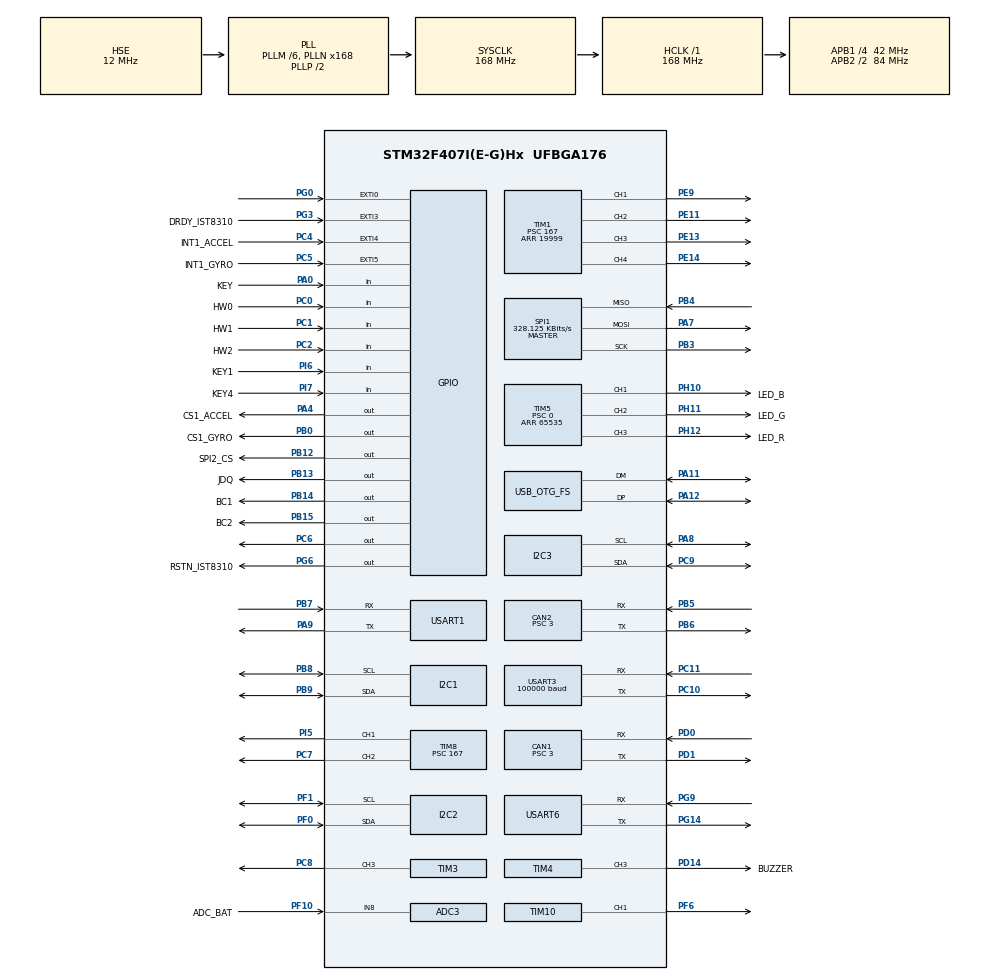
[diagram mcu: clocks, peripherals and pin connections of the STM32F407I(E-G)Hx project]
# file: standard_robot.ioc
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ADC1.Channel-0\#ChannelRegularConversion=ADC_CHANNEL_TEMPSENSOR
ADC1.ClockPrescaler=ADC_CLOCK_SYNC_PCLK_DIV6
ADC1.NbrOfConversionFlag=1
ADC1.Rank-0\#ChannelRegularConversion=1
ADC1.SamplingTime-0\#ChannelRegularConversion=ADC_SAMPLETIME_3CYCLES
ADC1.master=1
ADC3.Channel-0\#ChannelRegularConversion=ADC_CHANNEL_8
ADC3.ClockPrescaler=ADC_CLOCK_SYNC_PCLK_DIV6
ADC3.NbrOfConversionFlag=1
ADC3.Rank-0\#ChannelRegularConversion=1
ADC3.SamplingTime-0\#ChannelRegularConversion=ADC_SAMPLETIME_3CYCLES
CAN1.BS1=CAN_BS1_10TQ
CAN1.BS2=CAN_BS2_3TQ
CAN1.CalculateTimeQuantum=71.42857142857143
CAN1.Prescaler=3
CAN2.BS1=CAN_BS1_10TQ
CAN2.BS2=CAN_BS2_3TQ
CAN2.CalculateTimeQuantum=71.42857142857143
CAN2.Prescaler=3
Dma.I2C2_TX.2.Direction=DMA_MEMORY_TO_PERIPH
Dma.I2C2_TX.2.FIFOMode=DMA_FIFOMODE_DISABLE
Dma.I2C2_TX.2.Instance=DMA1_Stream7
Dma.I2C2_TX.2.MemDataAlignment=DMA_MDATAALIGN_BYTE
Dma.I2C2_TX.2.MemInc=DMA_MINC_ENABLE
Dma.I2C2_TX.2.Mode=DMA_NORMAL
Dma.I2C2_TX.2.PeriphDataAlignment=DMA_PDATAALIGN_BYTE
Dma.I2C2_TX.2.PeriphInc=DMA_PINC_DISABLE
Dma.I2C2_TX.2.Priority=DMA_PRIORITY_HIGH
Dma.Request0=SPI1_RX
Dma.Request1=SPI1_TX
Dma.Request2=I2C2_TX
Dma.Request3=USART3_RX
Dma.Request4=USART6_RX
Dma.Request5=USART6_TX
Dma.Request6=USART1_TX
Dma.SPI1_RX.0.Direction=DMA_PERIPH_TO_MEMORY
Dma.SPI1_RX.0.FIFOMode=DMA_FIFOMODE_DISABLE
Dma.SPI1_RX.0.Instance=DMA2_Stream2
Dma.SPI1_RX.0.MemDataAlignment=DMA_MDATAALIGN_BYTE
Dma.SPI1_RX.0.MemInc=DMA_MINC_ENABLE
Dma.SPI1_RX.0.Mode=DMA_NORMAL
Dma.SPI1_RX.0.PeriphDataAlignment=DMA_PDATAALIGN_BYTE
Dma.SPI1_RX.0.PeriphInc=DMA_PINC_DISABLE
Dma.SPI1_RX.0.Priority=DMA_PRIORITY_VERY_HIGH
Dma.SPI1_TX.1.Direction=DMA_MEMORY_TO_PERIPH
Dma.SPI1_TX.1.FIFOMode=DMA_FIFOMODE_DISABLE
Dma.SPI1_TX.1.Instance=DMA2_Stream3
Dma.SPI1_TX.1.MemDataAlignment=DMA_MDATAALIGN_BYTE
Dma.SPI1_TX.1.MemInc=DMA_MINC_ENABLE
Dma.SPI1_TX.1.Mode=DMA_NORMAL
Dma.SPI1_TX.1.PeriphDataAlignment=DMA_PDATAALIGN_BYTE
Dma.SPI1_TX.1.PeriphInc=DMA_PINC_DISABLE
Dma.SPI1_TX.1.Priority=DMA_PRIORITY_HIGH
Dma.USART1_TX.6.Direction=DMA_MEMORY_TO_PERIPH
Dma.USART1_TX.6.FIFOMode=DMA_FIFOMODE_DISABLE
Dma.USART1_TX.6.Instance=DMA2_Stream7
Dma.USART1_TX.6.MemDataAlignment=DMA_MDATAALIGN_BYTE
Dma.USART1_TX.6.MemInc=DMA_MINC_ENABLE
Dma.USART1_TX.6.Mode=DMA_NORMAL
Dma.USART1_TX.6.PeriphDataAlignment=DMA_PDATAALIGN_BYTE
Dma.USART1_TX.6.PeriphInc=DMA_PINC_DISABLE
Dma.USART1_TX.6.Priority=DMA_PRIORITY_MEDIUM
Dma.USART3_RX.3.Direction=DMA_PERIPH_TO_MEMORY
Dma.USART3_RX.3.FIFOMode=DMA_FIFOMODE_DISABLE
Dma.USART3_RX.3.Instance=DMA1_Stream1
Dma.USART3_RX.3.MemDataAlignment=DMA_MDATAALIGN_BYTE
Dma.USART3_RX.3.MemInc=DMA_MINC_ENABLE
Dma.USART3_RX.3.Mode=DMA_NORMAL
Dma.USART3_RX.3.PeriphDataAlignment=DMA_PDATAALIGN_BYTE
Dma.USART3_RX.3.PeriphInc=DMA_PINC_DISABLE
Dma.USART3_RX.3.Priority=DMA_PRIORITY_HIGH
Dma.USART6_RX.4.Direction=DMA_PERIPH_TO_MEMORY
Dma.USART6_RX.4.FIFOMode=DMA_FIFOMODE_DISABLE
Dma.USART6_RX.4.Instance=DMA2_Stream1
Dma.USART6_RX.4.MemDataAlignment=DMA_MDATAALIGN_BYTE
Dma.USART6_RX.4.MemInc=DMA_MINC_ENABLE
Dma.USART6_RX.4.Mode=DMA_NORMAL
Dma.USART6_RX.4.PeriphDataAlignment=DMA_PDATAALIGN_BYTE
Dma.USART6_RX.4.PeriphInc=DMA_PINC_DISABLE
Dma.USART6_RX.4.Priority=DMA_PRIORITY_HIGH
Dma.USART6_TX.5.Direction=DMA_MEMORY_TO_PERIPH
Dma.USART6_TX.5.FIFOMode=DMA_FIFOMODE_DISABLE
Dma.USART6_TX.5.Instance=DMA2_Stream6
Dma.USART6_TX.5.MemDataAlignment=DMA_MDATAALIGN_BYTE
Dma.USART6_TX.5.MemInc=DMA_MINC_ENABLE
Dma.USART6_TX.5.Mode=DMA_NORMAL
Dma.USART6_TX.5.PeriphDataAlignment=DMA_PDATAALIGN_BYTE
Dma.USART6_TX.5.PeriphInc=DMA_PINC_DISABLE
Dma.USART6_TX.5.Priority=DMA_PRIORITY_MEDIUM
FREERTOS.INCLUDE_eTaskGetState=1
FREERTOS.INCLUDE_pcTaskGetTaskName=1
FREERTOS.INCLUDE_uxTaskGetStackHighWaterMark=1
FREERTOS.INCLUDE_vTaskCleanUpResources=1
FREERTOS.INCLUDE_vTaskDelayUntil=1
FREERTOS.INCLUDE_xEventGroupSetBitFromISR=1
FREERTOS.INCLUDE_xQueueGetMutexHolder=1
FREERTOS.INCLUDE_xSemaphoreGetMutexHolder=1
FREERTOS.INCLUDE_xTaskAbortDelay=1
FREERTOS.INCLUDE_xTaskGetCurrentTaskHandle=1
FREERTOS.INCLUDE_xTaskGetHandle=1
FREERTOS.INCLUDE_xTimerPendFunctionCall=1
FREERTOS.Tasks01=test,24,128,test_task,As weak,NULL,Dynamic,NULL,NULL
FREERTOS.configTOTAL_HEAP_SIZE=24576
I2C1.I2C_Mode=I2C_Fast
I2C2.I2C_Mode=I2C_Fast
I2C3.I2C_Mode=I2C_Fast
Mcu.Family=STM32F4
Mcu.Name=STM32F407I(E-G)Hx
Mcu.Package=UFBGA176
NVIC.CAN1_RX0_IRQn=true\:6\:0\:true\:false\:true\:true\:true\:true\:true
NVIC.CAN2_RX0_IRQn=true\:6\:0\:true\:false\:true\:true\:true\:true\:true
NVIC.DMA1_Stream1_IRQn=true\:5\:0\:true\:false\:false\:true\:false\:false\:true
NVIC.DMA1_Stream7_IRQn=true\:5\:0\:true\:false\:false\:true\:false\:true\:true
NVIC.DMA2_Stream1_IRQn=true\:5\:0\:true\:false\:true\:true\:false\:true\:true
NVIC.DMA2_Stream2_IRQn=true\:5\:0\:true\:false\:false\:true\:false\:true\:true
NVIC.DMA2_Stream3_IRQn=true\:5\:0\:true\:false\:false\:true\:false\:true\:true
NVIC.DMA2_Stream6_IRQn=true\:5\:0\:true\:false\:true\:true\:false\:true\:true
NVIC.DMA2_Stream7_IRQn=true\:5\:0\:true\:false\:true\:true\:false\:true\:true
NVIC.EXTI0_IRQn=true\:6\:0\:true\:false\:true\:true\:true\:true\:true
NVIC.EXTI3_IRQn=true\:5\:0\:true\:false\:true\:true\:true\:true\:true
NVIC.EXTI4_IRQn=true\:5\:0\:true\:false\:true\:true\:true\:true\:true
NVIC.EXTI9_5_IRQn=true\:5\:0\:true\:false\:true\:true\:true\:true\:true
NVIC.OTG_FS_IRQn=true\:5\:0\:false\:false\:true\:true\:false\:true\:true
NVIC.PriorityGroup=NVIC_PRIORITYGROUP_4
NVIC.TIM2_IRQn=true\:5\:0\:false\:false\:true\:true\:true\:true\:true
NVIC.USART3_IRQn=true\:4\:0\:true\:false\:false\:false\:true\:true\:true
NVIC.USART6_IRQn=true\:5\:0\:true\:false\:false\:true\:true\:true\:true
PA0-WKUP.GPIO_Label=KEY
PA0-WKUP.GPIO_PuPd=GPIO_PULLUP
PA0-WKUP.Signal=GPIO_Input
PA11.Mode=Device_Only
PA11.Signal=USB_OTG_FS_DM
PA12.Mode=Device_Only
PA12.Signal=USB_OTG_FS_DP
PA13.Mode=Serial_Wire
PA13.Signal=SYS_JTMS-SWDIO
PA14.Mode=Serial_Wire
PA14.Signal=SYS_JTCK-SWCLK
PA4.GPIO_Label=CS1_ACCEL
PA4.GPIO_PuPd=GPIO_PULLUP
PA4.GPIO_Speed=GPIO_SPEED_FREQ_HIGH
PA4.PinState=GPIO_PIN_SET
PA4.Signal=GPIO_Output
PA7.GPIO_PuPd=GPIO_PULLUP
PA7.Mode=Full_Duplex_Master
PA7.Signal=SPI1_MOSI
PA8.Mode=I2C
PA8.Signal=I2C3_SCL
PA9.Mode=Asynchronous
PA9.Signal=USART1_TX
PB0.GPIO_Label=CS1_GYRO
PB0.GPIO_PuPd=GPIO_PULLUP
PB0.GPIO_Speed=GPIO_SPEED_FREQ_HIGH
PB0.PinState=GPIO_PIN_SET
PB0.Signal=GPIO_Output
PB12.GPIO_Label=SPI2_CS
PB12.GPIO_PuPd=GPIO_PULLUP
PB12.GPIO_Speed=GPIO_SPEED_FREQ_MEDIUM
PB12.PinState=GPIO_PIN_SET
PB12.Signal=GPIO_Output
PB13.GPIO_Label=JDQ
PB13.GPIO_PuPd=GPIO_PULLUP
PB13.Signal=GPIO_Output
PB14.GPIO_Label=BC1
PB14.GPIO_PuPd=GPIO_PULLUP
PB14.Signal=GPIO_Output
PB15.GPIO_Label=BC2
PB15.GPIO_PuPd=GPIO_PULLUP
PB15.Signal=GPIO_Output
PB3.GPIO_PuPd=GPIO_PULLUP
PB3.Mode=Full_Duplex_Master
PB3.Signal=SPI1_SCK
PB4.GPIO_PuPd=GPIO_PULLUP
PB4.Mode=Full_Duplex_Master
PB4.Signal=SPI1_MISO
PB5.Mode=Slave
PB5.Signal=CAN2_RX
PB6.Mode=Slave
PB6.Signal=CAN2_TX
PB7.Mode=Asynchronous
PB7.Signal=USART1_RX
PB8.Mode=I2C
PB8.Signal=I2C1_SCL
PB9.Mode=I2C
PB9.Signal=I2C1_SDA
PC0.GPIO_Label=HW0
PC0.Signal=GPIO_Input
PC1.GPIO_Label=HW1
PC1.Signal=GPIO_Input
PC10.Mode=Asynchronous
PC10.Signal=USART3_TX
PC11.Mode=Asynchronous
PC11.Signal=USART3_RX
PC2.GPIO_Label=HW2
PC2.Signal=GPIO_Input
PC4.GPIO_Label=INT1_ACCEL
PC4.GPIO_ModeDefaultEXTI=GPIO_MODE_IT_FALLING
PC4.GPIO_PuPd=GPIO_PULLUP
PC4.Signal=GPXTI4
PC5.GPIO_Label=INT1_GYRO
PC5.GPIO_ModeDefaultEXTI=GPIO_MODE_IT_FALLING
PC5.GPIO_PuPd=GPIO_PULLUP
PC5.Signal=GPXTI5
PC6.Signal=GPIO_Output
PC7.Signal=S_TIM8_CH2
PC8.GPIO_PuPd=GPIO_PULLUP
PC8.GPIO_Speed=GPIO_SPEED_FREQ_HIGH
PC8.Signal=S_TIM3_CH3
PC9.Mode=I2C
PC9.Signal=I2C3_SDA
PD0.Mode=Master
PD0.Signal=CAN1_RX
PD1.Mode=Master
PD1.Signal=CAN1_TX
PD14.GPIO_Label=BUZZER
PD14.GPIO_PuPd=GPIO_PULLUP
PD14.GPIO_Speed=GPIO_SPEED_FREQ_VERY_HIGH
PD14.Signal=S_TIM4_CH3
PE11.Signal=S_TIM1_CH2
PE13.Signal=S_TIM1_CH3
PE14.Signal=S_TIM1_CH4
PE9.Signal=S_TIM1_CH1
PF0.Mode=I2C
PF0.Signal=I2C2_SDA
PF1.Mode=I2C
PF1.Signal=I2C2_SCL
PF10.GPIO_Label=ADC_BAT
PF10.Mode=IN8
PF10.Signal=ADC3_IN8
PF6.GPIO_PuPd=GPIO_PULLUP
PF6.GPIO_Speed=GPIO_SPEED_FREQ_HIGH
PF6.Signal=S_TIM10_CH1
PG0.GPIO_ModeDefaultEXTI=GPIO_MODE_IT_FALLING
PG0.GPIO_PuPd=GPIO_PULLUP
PG0.Signal=GPXTI0
PG14.Mode=Asynchronous
PG14.Signal=USART6_TX
PG3.GPIO_Label=DRDY_IST8310
PG3.GPIO_ModeDefaultEXTI=GPIO_MODE_IT_FALLING
PG3.GPIO_PuPd=GPIO_PULLUP
PG3.Signal=GPXTI3
PG6.GPIO_Label=RSTN_IST8310
PG6.GPIO_PuPd=GPIO_PULLUP
PG6.GPIO_Speed=GPIO_SPEED_FREQ_MEDIUM
PG6.PinState=GPIO_PIN_SET
PG6.Signal=GPIO_Output
PG9.Mode=Asynchronous
PG9.Signal=USART6_RX
PH0-OSC_IN.Mode=HSE-External-Oscillator
PH0-OSC_IN.Signal=RCC_OSC_IN
PH1-OSC_OUT.Mode=HSE-External-Oscillator
PH1-OSC_OUT.Signal=RCC_OSC_OUT
PH10.GPIO_Label=LED_B
PH10.GPIO_PuPd=GPIO_PULLUP
PH10.GPIO_Speed=GPIO_SPEED_FREQ_HIGH
PH10.Signal=S_TIM5_CH1
PH11.GPIO_Label=LED_G
PH11.GPIO_PuPd=GPIO_PULLUP
PH11.GPIO_Speed=GPIO_SPEED_FREQ_HIGH
PH11.Signal=S_TIM5_CH2
PH12.GPIO_Label=LED_R
PH12.GPIO_PuPd=GPIO_PULLUP
PH12.GPIO_Speed=GPIO_SPEED_FREQ_HIGH
PH12.Signal=S_TIM5_CH3
PI5.Signal=S_TIM8_CH1
PI6.GPIO_Label=KEY1
PI6.Signal=GPIO_Input
PI7.GPIO_Label=KEY4
PI7.Signal=GPIO_Input
ProjectManager.HeapSize=0x2000
ProjectManager.StackSize=0x2000
ProjectManager.TargetToolchain=MDK-ARM V5
RCC.48MHZClocksFreq_Value=48000000
RCC.AHBFreq_Value=168000000
RCC.APB1CLKDivider=RCC_HCLK_DIV4
RCC.APB1Freq_Value=42000000
RCC.APB1TimFreq_Value=84000000
RCC.APB2CLKDivider=RCC_HCLK_DIV2
RCC.APB2Freq_Value=84000000
RCC.APB2TimFreq_Value=168000000
RCC.CortexFreq_Value=168000000
RCC.HCLKFreq_Value=168000000
RCC.HSE_VALUE=12000000
RCC.HSI_VALUE=16000000
RCC.LSE_VALUE=32768
RCC.PLLM=6
RCC.PLLN=168
RCC.PLLQ=7
RCC.RCC_RTC_Clock_SourceVirtual=RCC_RTCCLKSOURCE_HSE_DIV30
RCC.RCC_RTC_Clock_Source_FROM_HSE=RCC_RTCCLKSOURCE_HSE_DIV30
RCC.SYSCLKFreq_VALUE=168000000
RCC.SYSCLKSource=RCC_SYSCLKSOURCE_PLLCLK
RCC.VCOOutputFreq_Value=336000000
RTC.AsynchPrediv=124
RTC.SynchPrediv=3199
SH.S_TIM10_CH1.0=TIM10_CH1,PWM Generation1 CH1
SH.S_TIM1_CH1.0=TIM1_CH1,PWM Generation1 CH1
SH.S_TIM1_CH2.0=TIM1_CH2,PWM Generation2 CH2
SH.S_TIM1_CH3.0=TIM1_CH3,PWM Generation3 CH3
SH.S_TIM1_CH4.0=TIM1_CH4,PWM Generation4 CH4
SH.S_TIM3_CH3.0=TIM3_CH3,PWM Generation3 CH3
SH.S_TIM4_CH3.0=TIM4_CH3,PWM Generation3 CH3
SH.S_TIM5_CH1.0=TIM5_CH1,PWM Generation1 CH1
SH.S_TIM5_CH2.0=TIM5_CH2,PWM Generation2 CH2
SH.S_TIM5_CH3.0=TIM5_CH3,PWM Generation3 CH3
SH.S_TIM8_CH1.0=TIM8_CH1,PWM Generation1 CH1
SH.S_TIM8_CH2.0=TIM8_CH2,PWM Generation2 CH2
SPI1.BaudRatePrescaler=SPI_BAUDRATEPRESCALER_256
SPI1.CLKPhase=SPI_PHASE_2EDGE
SPI1.CLKPolarity=SPI_POLARITY_HIGH
SPI1.CalculateBaudRate=328.125 KBits/s
SPI1.Direction=SPI_DIRECTION_2LINES
SPI1.Mode=SPI_MODE_MASTER
SPI1.VirtualType=VM_MASTER
TIM1.Channel-PWM\ Generation1\ CH1=TIM_CHANNEL_1
TIM1.Channel-PWM\ Generation2\ CH2=TIM_CHANNEL_2
TIM1.Channel-PWM\ Generation3\ CH3=TIM_CHANNEL_3
TIM1.Channel-PWM\ Generation4\ CH4=TIM_CHANNEL_4
TIM1.Period=19999
TIM1.Prescaler=167
TIM1.Pulse-PWM\ Generation1\ CH1=2000
TIM1.Pulse-PWM\ Generation2\ CH2=2000
TIM1.Pulse-PWM\ Generation3\ CH3=2000
TIM10.Channel=TIM_CHANNEL_1
TIM10.Period=4999
TIM2.Period=999
TIM2.Prescaler=167
TIM3.Channel-PWM\ Generation3\ CH3=TIM_CHANNEL_3
TIM3.Period=8399
TIM4.Channel-PWM\ Generation3\ CH3=TIM_CHANNEL_3
TIM4.Period=65535
TIM4.Prescaler=167
TIM5.Channel-PWM\ Generation1\ CH1=TIM_CHANNEL_1
TIM5.Channel-PWM\ Generation2\ CH2=TIM_CHANNEL_2
TIM5.Channel-PWM\ Generation3\ CH3=TIM_CHANNEL_3
TIM5.Period=65535
TIM5.Prescaler=0
TIM8.Channel-PWM\ Generation1\ CH1=TIM_CHANNEL_1
TIM8.Channel-PWM\ Generation2\ CH2=TIM_CHANNEL_2
TIM8.Period=19999
TIM8.Prescaler=167
TIM8.Pulse-PWM\ Generation1\ CH1=2000
TIM8.Pulse-PWM\ Generation2\ CH2=2000
USART1.VirtualMode=VM_ASYNC
USART3.BaudRate=100000
USART3.Parity=PARITY_EVEN
USART3.VirtualMode=VM_ASYNC
USART6.VirtualMode=VM_ASYNC
USB_DEVICE.CLASS_NAME_FS=CDC
USB_DEVICE.VirtualMode-CDC_FS=Cdc
USB_DEVICE.VirtualModeFS=Cdc_FS
USB_OTG_FS.VirtualMode=Device_Only
VP_ADC1_TempSens_Input.Mode=IN-TempSens
VP_ADC1_Vref_Input.Mode=IN-Vrefint
VP_CRC_VS_CRC.Mode=CRC_Activate
VP_FREERTOS_VS_CMSIS_V1.Mode=CMSIS_V1
VP_RNG_VS_RNG.Mode=RNG_Activate
VP_RTC_VS_RTC_Activate.Mode=RTC_Enabled
VP_TIM10_VS_ClockSourceINT.Mode=Enable_Timer
VP_TIM1_VS_ClockSourceINT.Mode=Internal
VP_TIM2_VS_ClockSourceINT.Mode=Internal
VP_TIM3_VS_ClockSourceINT.Mode=Internal
VP_TIM4_VS_ClockSourceINT.Mode=Internal
VP_TIM5_VS_ClockSourceINT.Mode=Internal
VP_TIM8_VS_ClockSourceINT.Mode=Internal
VP_USB_DEVICE_VS_USB_DEVICE_CDC_FS.Mode=CDC_FS
board=custom

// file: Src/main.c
/* USER CODE BEGIN Header */
/**
  ******************************************************************************
  * @file           : main.c
  * @brief          : Main program body
  ******************************************************************************
  * @attention
  *
  * <h2><center>&copy; Copyright (c) 2019 STMicroelectronics.
  * All rights reserved.</center></h2>
  *
  * This software component is licensed by ST under Ultimate Liberty license
  * SLA0044, the "License"; You may not use this file except in compliance with
  * the License. You may obtain a copy of the License at:
  *                             www.st.com/SLA0044
  *
  ******************************************************************************
  */
/* USER CODE END Header */

#include "main.h"
#include "cmsis_os.h"
#include "adc.h"
#include "can.h"
#include "crc.h"
#include "dma.h"
#include "i2c.h"
#include "rng.h"
#include "rtc.h"
#include "spi.h"
#include "tim.h"
#include "usart.h"
#include "usb_device.h"
#include "gpio.h"

/* USER CODE BEGIN Includes */
#include "bsp_can.h"
#include "bsp_delay.h"
#include "bsp_usart.h"
#include "remote_control.h"

#include "calibrate_task.h"
#include "chassis_task.h"
#include "detect_task.h"
#include "gimbal_task.h"
#include "INS_task.h"
#include "led_flow_task.h"
#include "oled_task.h"
#include "referee_usart_task.h"
#include "usb_task.h"
#include "voltage_task.h"
/* USER CODE END Includes */

void SystemClock_Config(void);
void MX_FREERTOS_Init(void);

int main(void)
{

  /* MCU Configuration--------------------------------------------------------*/

  /* Reset of all peripherals, Initializes the Flash interface and the Systick. */
  HAL_Init();

  /* Configure the system clock */
  SystemClock_Config();

  /* Initialize all configured peripherals */
  MX_GPIO_Init();
  MX_DMA_Init();
  MX_ADC1_Init();
  MX_ADC3_Init();
  MX_CAN1_Init();
  MX_CAN2_Init();
  MX_I2C1_Init();
  MX_SPI1_Init();
  MX_TIM4_Init();
  MX_TIM5_Init();
  MX_USART3_UART_Init();
  MX_TIM8_Init();
  MX_CRC_Init();
  MX_RNG_Init();
  MX_I2C2_Init();
  MX_I2C3_Init();
  MX_RTC_Init();
  MX_TIM1_Init();
  MX_TIM3_Init();
  MX_TIM10_Init();
  MX_USART1_UART_Init();
  MX_USART6_UART_Init();
  MX_TIM2_Init();
  /* USER CODE BEGIN 2 */
    can_filter_init();
    delay_init();
        OLED_init();
//    cali_param_init();
//    remote_control_init();

	HAL_TIM_Base_Start(&htim1);
	__HAL_UART_ENABLE_IT(&huart1, UART_IT_IDLE);
	__HAL_UART_ENABLE_IT(&huart1, UART_IT_RXNE);
	__HAL_UART_ENABLE_IT(&huart6, UART_IT_RXNE);

//    使能接收中断
//    __HAL_UART_ENABLE_IT(&huart1, UART_IT_RXNE);  //receive interrupt

//    __HAL_TIM_SET_COMPARE(&htim1, TIM_CHANNEL_2, 100);

//    HAL_TIM_PWM_Start(&htim1, TIM_CHANNEL_2);
//    HAL_Delay(2000);

//    __HAL_TIM_SET_COMPARE(&htim1, TIM_CHANNEL_2, 200);
//    HAL_Delay(2000);
//    HAL_TIM_PWM_Start(&htim1, TIM_CHANNEL_2);

  /* USER CODE END 2 */

  /* Call init function for freertos objects (in freertos.c) */
  MX_FREERTOS_Init();

  /* Start scheduler */
  osKernelStart();

  /* We should never get here as control is now taken by the scheduler */

  /* Infinite loop */
  while (1)
  {

  }
}

void SystemClock_Config(void)
{
  RCC_OscInitTypeDef RCC_OscInitStruct = {0};
  RCC_ClkInitTypeDef RCC_ClkInitStruct = {0};
  RCC_PeriphCLKInitTypeDef PeriphClkInitStruct = {0};

  /** Configure the main internal regulator output voltage
  */
  __HAL_RCC_PWR_CLK_ENABLE();
  __HAL_PWR_VOLTAGESCALING_CONFIG(PWR_REGULATOR_VOLTAGE_SCALE1);
  /** Initializes the CPU, AHB and APB busses clocks
  */
  RCC_OscInitStruct.OscillatorType = RCC_OSCILLATORTYPE_HSE;
  RCC_OscInitStruct.HSEState = RCC_HSE_ON;
  RCC_OscInitStruct.PLL.PLLState = RCC_PLL_ON;
  RCC_OscInitStruct.PLL.PLLSource = RCC_PLLSOURCE_HSE;
  RCC_OscInitStruct.PLL.PLLM = 6;
  RCC_OscInitStruct.PLL.PLLN = 168;
  RCC_OscInitStruct.PLL.PLLP = RCC_PLLP_DIV2;
  RCC_OscInitStruct.PLL.PLLQ = 7;
  if (HAL_RCC_OscConfig(&RCC_OscInitStruct) != HAL_OK)
  {
    Error_Handler();
  }
  /** Initializes the CPU, AHB and APB busses clocks
  */
  RCC_ClkInitStruct.ClockType = RCC_CLOCKTYPE_HCLK|RCC_CLOCKTYPE_SYSCLK
                              |RCC_CLOCKTYPE_PCLK1|RCC_CLOCKTYPE_PCLK2;
  RCC_ClkInitStruct.SYSCLKSource = RCC_SYSCLKSOURCE_PLLCLK;
  RCC_ClkInitStruct.AHBCLKDivider = RCC_SYSCLK_DIV1;
  RCC_ClkInitStruct.APB1CLKDivider = RCC_HCLK_DIV4;
  RCC_ClkInitStruct.APB2CLKDivider = RCC_HCLK_DIV2;

  if (HAL_RCC_ClockConfig(&RCC_ClkInitStruct, FLASH_LATENCY_5) != HAL_OK)
  {
    Error_Handler();
  }
  PeriphClkInitStruct.PeriphClockSelection = RCC_PERIPHCLK_RTC;
  PeriphClkInitStruct.RTCClockSelection = RCC_RTCCLKSOURCE_HSE_DIV30;
  if (HAL_RCCEx_PeriphCLKConfig(&PeriphClkInitStruct) != HAL_OK)
  {
    Error_Handler();
  }
}

/* USER CODE BEGIN 4 */

//void USART6_IRQHandler(void)
//{
//    static uint8_t i=0;
//    if(huart6.Instance->SR & UART_FLAG_RXNE)
//    {
//       receive[i] = huart6.Instance->DR;
//       flag=0;
//       angle_flag = 0;
//       if(receive[0]==0xA1)
//       {
//            i++;
//       }
//       else
//       {
//            i=0;
//       }
//       if(i == 3)
//       {
//           angle_flag = 1;
//           i = 0;
//       }
//       if(i==7)
//       {
//            flag=1;
//            i=0;
//       }
//    }
//}

//void Angle_service()
//{
//    if(angle_flag == 1)
//    {
//        angle = (uint16_t)(receive[1]<<8 | receive[2]);
//    }
//}

/* USER CODE END 4 */

void Error_Handler(void)
{
}

/************************ (C) COPYRIGHT STMicroelectronics *****END OF FILE****/

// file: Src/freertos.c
/* USER CODE BEGIN Header */
/**
  ******************************************************************************
  * File Name          : freertos.c
  * Description        : Code for freertos applications
  ******************************************************************************
  * @attention
  *
  * <h2><center>&copy; Copyright (c) 2019 STMicroelectronics.
  * All rights reserved.</center></h2>
  *
  * This software component is licensed by ST under Ultimate Liberty license
  * SLA0044, the "License"; You may not use this file except in compliance with
  * the License. You may obtain a copy of the License at:
  *                             www.st.com/SLA0044
  *
  ******************************************************************************
  */
/* USER CODE END Header */

#include "FreeRTOS.h"
#include "task.h"
#include "main.h"
#include "cmsis_os.h"

/* USER CODE BEGIN Includes */

#include "calibrate_task.h"
#include "chassis_task.h"
#include "detect_task.h"
#include "gimbal_task.h"
#include "INS_task.h"
#include "led_flow_task.h"
#include "oled_task.h"
#include "referee_usart_task.h"
#include "usb_task.h"
#include "voltage_task.h"
#include "servo_task.h"
#include "medical_chassis.h"
/* USER CODE END Includes */

/* USER CODE BEGIN PTD */

osThreadId calibrate_tast_handle;
osThreadId chassisTaskHandle;
osThreadId detect_handle;
osThreadId gimbalTaskHandle;
osThreadId imuTaskHandle;
osThreadId led_RGB_flow_handle;
osThreadId oled_handle;
osThreadId referee_usart_task_handle;
osThreadId usb_task_handle;
osThreadId battery_voltage_handle;
osThreadId servo_task_handle;
osThreadId medical_chassis_handle;

/* USER CODE END PTD */

osThreadId testHandle;

void test_task(void const * argument);

extern void MX_USB_DEVICE_Init(void);
void MX_FREERTOS_Init(void); /* (MISRA C 2004 rule 8.1) */

/* GetIdleTaskMemory prototype (linked to static allocation support) */
void vApplicationGetIdleTaskMemory( StaticTask_t **ppxIdleTaskTCBBuffer, StackType_t **ppxIdleTaskStackBuffer, uint32_t *pulIdleTaskStackSize );

/* GetTimerTaskMemory prototype (linked to static allocation support) */
void vApplicationGetTimerTaskMemory( StaticTask_t **ppxTimerTaskTCBBuffer, StackType_t **ppxTimerTaskStackBuffer, uint32_t *pulTimerTaskStackSize );

/* USER CODE BEGIN GET_IDLE_TASK_MEMORY */
static StaticTask_t xIdleTaskTCBBuffer;
static StackType_t xIdleStack[configMINIMAL_STACK_SIZE];

void vApplicationGetIdleTaskMemory( StaticTask_t **ppxIdleTaskTCBBuffer, StackType_t **ppxIdleTaskStackBuffer, uint32_t *pulIdleTaskStackSize )
{
  *ppxIdleTaskTCBBuffer = &xIdleTaskTCBBuffer;
  *ppxIdleTaskStackBuffer = &xIdleStack[0];
  *pulIdleTaskStackSize = configMINIMAL_STACK_SIZE;
  /* place for user code */
}
/* USER CODE END GET_IDLE_TASK_MEMORY */

/* USER CODE BEGIN GET_TIMER_TASK_MEMORY */
static StaticTask_t xTimerTaskTCBBuffer;
static StackType_t xTimerStack[configTIMER_TASK_STACK_DEPTH];

void vApplicationGetTimerTaskMemory( StaticTask_t **ppxTimerTaskTCBBuffer, StackType_t **ppxTimerTaskStackBuffer, uint32_t *pulTimerTaskStackSize )
{
  *ppxTimerTaskTCBBuffer = &xTimerTaskTCBBuffer;
  *ppxTimerTaskStackBuffer = &xTimerStack[0];
  *pulTimerTaskStackSize = configTIMER_TASK_STACK_DEPTH;
  /* place for user code */
}
/* USER CODE END GET_TIMER_TASK_MEMORY */

void MX_FREERTOS_Init(void) {

  /* Create the thread(s) */
  /* definition and creation of test */
  osThreadDef(test, test_task, osPriorityNormal, 0, 128);
  testHandle = osThreadCreate(osThread(test), NULL);

  /* USER CODE BEGIN RTOS_THREADS */
  /* add threads, ... */
//    osThreadDef(cali, calibrate_task, osPriorityNormal, 0, 512);
//    calibrate_tast_handle = osThreadCreate(osThread(cali), NULL);

//    osThreadDef(ChassisTask, chassis_task, osPriorityAboveNormal, 0, 512);
//    chassisTaskHandle = osThreadCreate(osThread(ChassisTask), NULL);

//    osThreadDef(DETECT, detect_task, osPriorityNormal, 0, 256);
//    detect_handle = osThreadCreate(osThread(DETECT), NULL);

//    osThreadDef(gimbalTask, gimbal_task, osPriorityHigh, 0, 512);
//    gimbalTaskHandle = osThreadCreate(osThread(gimbalTask), NULL);

    osThreadDef(imuTask, INS_task, osPriorityRealtime, 0, 1024);
    imuTaskHandle = osThreadCreate(osThread(imuTask), NULL);

    osThreadDef(led, led_RGB_flow_task, osPriorityNormal, 0, 256);
    led_RGB_flow_handle = osThreadCreate(osThread(led), NULL);

    osThreadDef(OLED, oled_task, osPriorityLow, 0, 256);
    oled_handle = osThreadCreate(osThread(OLED), NULL);

    osThreadDef(MEDICAL, medical_chassis_task, osPriorityNormal, 0, 1024);
    medical_chassis_handle = osThreadCreate(osThread(MEDICAL), NULL);

  /* USER CODE END RTOS_THREADS */

}

__weak void test_task(void const * argument)
{
  /* init code for USB_DEVICE */
  MX_USB_DEVICE_Init();

  for(;;)
  {
    osDelay(1);
  }
}

/************************ (C) COPYRIGHT STMicroelectronics *****END OF FILE****/
